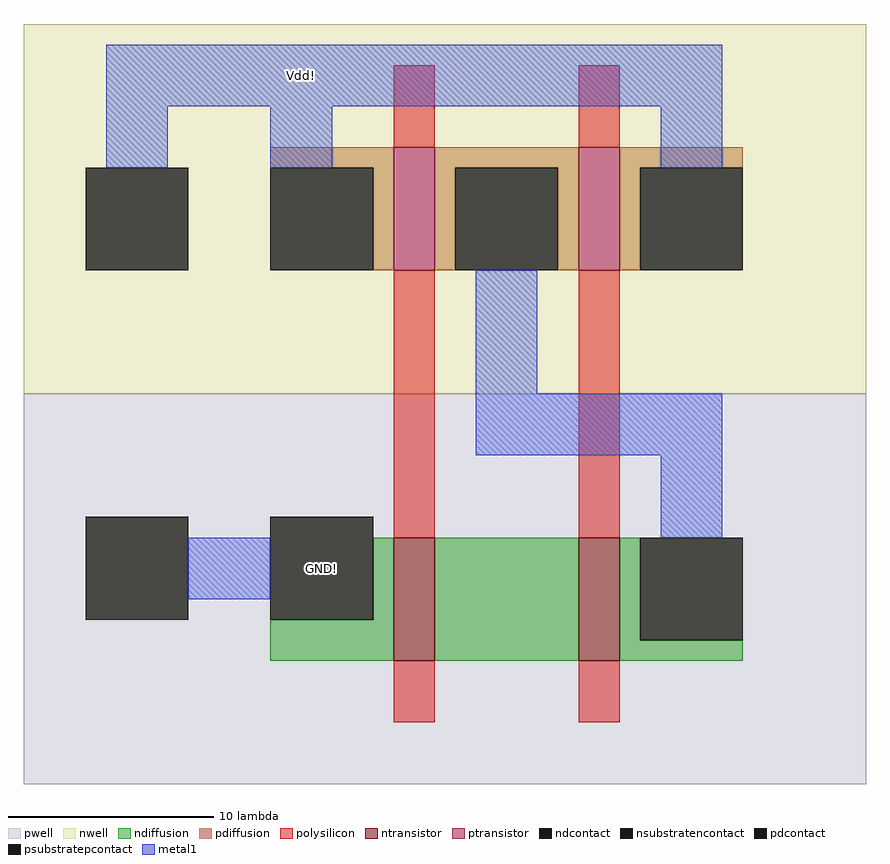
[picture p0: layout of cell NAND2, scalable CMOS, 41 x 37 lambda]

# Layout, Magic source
magic
tech scmos
<< nwell >>
rect -41 25 0 43
<< pwell >>
rect -41 6 0 25
<< ntransistor >>
rect -23 12 -21 18
rect -14 12 -12 18
<< ptransistor >>
rect -23 31 -21 37
rect -14 31 -12 37
<< ndiffusion >>
rect -24 14 -23 18
rect -29 12 -23 14
rect -21 12 -14 18
rect -12 13 -11 18
rect -12 12 -6 13
<< pdiffusion >>
rect -29 36 -23 37
rect -24 31 -23 36
rect -21 36 -14 37
rect -21 31 -20 36
rect -15 31 -14 36
rect -12 36 -6 37
rect -12 31 -11 36
<< ndcontact >>
rect -29 14 -24 19
rect -11 13 -6 18
<< pdcontact >>
rect -29 31 -24 36
rect -20 31 -15 36
rect -11 31 -6 36
<< psubstratepcontact >>
rect -38 14 -33 19
<< nsubstratencontact >>
rect -38 31 -33 36
<< polysilicon >>
rect -23 37 -21 41
rect -14 37 -12 41
rect -23 18 -21 31
rect -14 18 -12 31
rect -23 9 -21 12
rect -14 9 -12 12
<< metal1 >>
rect -37 39 -7 42
rect -37 36 -34 39
rect -29 36 -26 39
rect -10 36 -7 39
rect -19 25 -16 31
rect -19 22 -7 25
rect -33 15 -29 18
rect -10 18 -7 22
<< labels >>
rlabel metal1 -29 40 -26 41 1 Vdd!
rlabel ndcontact -28 16 -25 17 1 GND!
<< end >>
